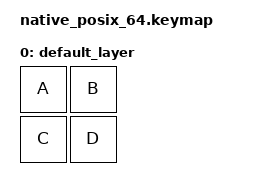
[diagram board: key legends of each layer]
#include <dt-bindings/zmk/keys.h>
#include <behaviors.dtsi>
#include <dt-bindings/zmk/kscan_mock.h>

/*

TO RUN THE TEST:
1. Go to app/
2. Run: 
    ./run-test.sh tests/combo/overlapping-combos-4-different-timeouts


TO DEBUG THE TEST:
1. IMPORTANT: Run the test first!
2. (optional) Put breakpoints
3. Go on the 'Run and Debug' tab in VS Code
4. Launch: "Run/Debug: tests/combo/overlapping-combos-4-different-timeouts"

 */

#define kA 0
#define kB 1
#define kC 2
#define kD 3

/ {
    combos {
        compatible = "zmk,combos";

        combo_short {
            timeout-ms = <30>;
            key-positions = <kA kB>;
            bindings = <&kp S>;
        };

        combo_long {
            timeout-ms = <100>;
            key-positions = <kA kC>;
            bindings = <&kp L>;
        };

    };

    keymap {
        compatible = "zmk,keymap";
        label ="Default keymap";

        default_layer {
            bindings = <
                &kp A &kp B
                &kp C &kp D
            >;
        };
    };
};

#define press_A_and_wait(delay_next) \
    ZMK_MOCK_PRESS(0,0,delay_next)
#define press_B_and_wait(delay_next) \
    ZMK_MOCK_PRESS(0,1,delay_next)
#define press_C_and_wait(delay_next) \
    ZMK_MOCK_PRESS(1,0,delay_next)
#define press_D_and_wait(delay_next) \
    ZMK_MOCK_PRESS(1,1,delay_next)

#define release_A_and_wait(delay_next) \
    ZMK_MOCK_RELEASE(0,0,delay_next)
#define release_D_and_wait(delay_next) \
    ZMK_MOCK_RELEASE(1,1,delay_next)
 
&kscan {
    events = <

        /*
        Expected output:
        ----------------
        - T+50: Key 0 (A) is pressed
            - Nothing to see
        - T+80: 'combo_short' expires (press + 30ms) => Nothing happens because we're still waiting to see if 'combo_long' will be matched
            - Nothing to see
        - T+100: Key 4 (D) is pressed and released
            - We should see: 'position 4 keycode 0x70007'
        - T+150: 'combo_long' expires (press + 100ms) => Both combos expired, now we're sending the KEY_PRESS binding
            - We should see: 'position 0 keycode 0x70004' 
        - T+200: Key 0 (A) is released
            - Nothing to see
        - T+220: Key 4 (D) is pressed and released
            - We should see: 'position 4 keycode 0x70007' 


        We don't have access to the timings in the snapshot, so this order allows to test timeouts based on the sequence on keycode sent.
        If everything works as expected, we should send: D, A, D.

        Current problem: ❌
        ----------------
        At the moment there's a bug where whenever the shortest combo expires, we stop waiting for other candidates. With that buggy behavior
        zmk will send instead: A, D, D. Because the expiry of 'combo_short' will output A before the first D.
        */


        /* Note: This starts at T+50 because the ZMK_MOCK_PRESS seems to launch the first event at T+(first wait duration). So in our case T+50 */

        /* T+50+0=    T+50: Press A and wait 50ms */
        press_A_and_wait(50)

        /* T+50+30=   T+80: 'combo_short' should expire */

        /* T+50+50=  T+100: Press D and release 10ms later */
        press_D_and_wait(10)
        release_D_and_wait(90)

        /* T+50+100= T+150: 'combo_long' should expire */

        /* T+50+150= T+200: Release A */
        release_A_and_wait(20)

        /* T+50+170=  T+220: Press D and release 10ms later */
        press_D_and_wait(10)
        release_D_and_wait(0)
    >;
};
